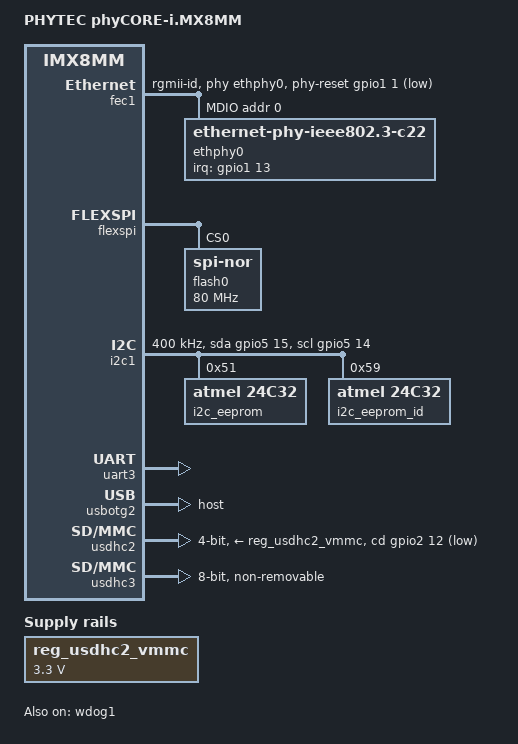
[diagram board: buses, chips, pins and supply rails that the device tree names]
// SPDX-License-Identifier: GPL-2.0-or-later
/*
 * Copyright (C) 2019-2020 PHYTEC Messtechnik GmbH
 * Author: Teresa Remmet <t.remmet@phytec.de>
 */

/dts-v1/;

#include <dt-bindings/net/ti-dp83867.h>
#include "imx8mm.dtsi"

/ {
	model = "PHYTEC phyCORE-i.MX8MM";
	compatible = "phytec,imx8mm-phycore-som", "fsl,imx8mm";

	chosen {
		stdout-path = &uart3;
	};

	reg_usdhc2_vmmc: regulator-usdhc2 {
		compatible = "regulator-fixed";
		regulator-name = "VSD_3V3";
		regulator-min-microvolt = <3300000>;
		regulator-max-microvolt = <3300000>;
		startup-delay-us = <100>;
		off-on-delay-us = <12000>;
	};
};

/* ethernet */
&fec1 {
	pinctrl-names = "default";
	pinctrl-0 = <&pinctrl_fec1>;
	phy-mode = "rgmii-id";
	phy-handle = <&ethphy0>;
	phy-reset-gpios = <&gpio1 1 GPIO_ACTIVE_LOW>;
	phy-reset-duration = <1>;
	phy-reset-post-delay = <1>;
	status = "okay";

	mdio {
		#address-cells = <1>;
		#size-cells = <0>;

		ethphy0: ethernet-phy@0 {
			compatible = "ethernet-phy-ieee802.3-c22";
			reg = <0x0>;
		        adi,rx-internal-delay-ps = <1800>;
		        adi,tx-internal-delay-ps = <2200>;

			interrupt-parent = <&gpio1>;
			interrupts = <13 IRQ_TYPE_EDGE_FALLING>;

		};
	};
};

/* SPI nor flash */
&flexspi {
	pinctrl-names = "default";
	pinctrl-0 = <&pinctrl_flexspi0>;
	status = "okay";

	flash0: norflash@0 {
		reg = <0>;
		#address-cells = <1>;
		#size-cells = <1>;
		compatible = "jedec,spi-nor";
		spi-max-frequency = <80000000>;
		spi-tx-bus-width = <4>;
		spi-rx-bus-width = <4>;
	};
};

/* i2c eeprom */
&i2c1 {
	clock-frequency = <400000>;
	pinctrl-names = "default", "gpio";
	pinctrl-0 = <&pinctrl_i2c1>;
	pinctrl-1 = <&pinctrl_i2c1_gpio>;
	scl-gpios = <&gpio5 14 GPIO_ACTIVE_HIGH>;
	sda-gpios = <&gpio5 15 GPIO_ACTIVE_HIGH>;
	status = "okay";

	/* M24C32-D */
	i2c_eeprom: eeprom@51 {
		compatible = "atmel,24c32";
		reg = <0x51>;
		u-boot,i2c-offset-len = <2>;
	};

	/* M24C32-D Identification page */
	i2c_eeprom_id: eeprom@59 {
		compatible = "atmel,24c32";
		reg = <0x59>;
		u-boot,i2c-offset-len = <2>;
		size = <32>;
	};
};

/* debug console */
&uart3 {
	pinctrl-names = "default";
	pinctrl-0 = <&pinctrl_uart3>;
	status = "okay";
};

/* USB */
&usbotg2 {
	dr_mode = "host";
	picophy,pre-emp-curr-control = <3>;
	picophy,dc-vol-level-adjust = <7>;
	status = "okay";
};

/* sd-card */
&usdhc2 {
	pinctrl-names = "default", "state_100mhz", "state_200mhz";
	pinctrl-0 = <&pinctrl_usdhc2>, <&pinctrl_usdhc2_gpio>;
	pinctrl-1 = <&pinctrl_usdhc2_100mhz>, <&pinctrl_usdhc2_gpio>;
	pinctrl-2 = <&pinctrl_usdhc2_200mhz>, <&pinctrl_usdhc2_gpio>;
	cd-gpios = <&gpio2 12 GPIO_ACTIVE_LOW>;
	bus-width = <4>;
	vmmc-supply = <&reg_usdhc2_vmmc>;
	status = "okay";
};

/* eMMC */
&usdhc3 {
	pinctrl-names = "default", "state_100mhz", "state_200mhz";
	pinctrl-0 = <&pinctrl_usdhc3>;
	pinctrl-1 = <&pinctrl_usdhc3_100mhz>;
	pinctrl-2 = <&pinctrl_usdhc3_200mhz>;
	bus-width = <8>;
	non-removable;
	status = "okay";
};

/* watchdog */
&wdog1 {
	pinctrl-names = "default";
	pinctrl-0 = <&pinctrl_wdog>;
	fsl,ext-reset-output;
	status = "okay";
};

&iomuxc {
	pinctrl-names = "default";

	pinctrl_fec1: fec1grp {
/*
- pin_list:
  - {pin_num: AC27, peripheral: ENET1, signal: enet_mdc, pin_signal: ENET_MDC, PE: Disabled, FSEL: SLOW0, DSE: X4_1}
  - {pin_num: AB27, peripheral: ENET1, signal: enet_mdio, pin_signal: ENET_MDIO, PE: Disabled, FSEL: SLOW0, DSE: X4_1}
  - {pin_num: AE27, peripheral: ENET1, signal: 'enet_rgmii_rd, 0', pin_signal: ENET_RD0, PE: Disabled, HYS: Enabled, DSE: X1_1}
  - {pin_num: AD27, peripheral: ENET1, signal: 'enet_rgmii_rd, 1', pin_signal: ENET_RD1, PE: Disabled, HYS: Enabled, DSE: X1_1}
  - {pin_num: AD26, peripheral: ENET1, signal: 'enet_rgmii_rd, 2', pin_signal: ENET_RD2, PE: Disabled, HYS: Enabled, DSE: X1_1}
  - {pin_num: AC26, peripheral: ENET1, signal: 'enet_rgmii_rd, 3', pin_signal: ENET_RD3, PE: Disabled, HYS: Enabled, DSE: X1_1}
  - {pin_num: AF27, peripheral: ENET1, signal: enet_rgmii_rx_ctl, pin_signal: ENET_RX_CTL, PE: Disabled, HYS: Enabled, DSE: X1_1}
  - {pin_num: AG26, peripheral: ENET1, signal: 'enet_rgmii_td, 0', pin_signal: ENET_TD0, PE: Disabled, FSEL: FAST1, DSE: X6_1}
  - {pin_num: AF26, peripheral: ENET1, signal: 'enet_rgmii_td, 1', pin_signal: ENET_TD1, PE: Disabled, FSEL: FAST1, DSE: X6_1}
  - {pin_num: AF24, peripheral: ENET1, signal: enet_rgmii_tx_ctl, pin_signal: ENET_TX_CTL, PE: Disabled, SION: DISABLED, FSEL: FAST1, DSE: X6_1}
  - {pin_num: AF14, peripheral: GPIO1, signal: 'gpio_io, 01', pin_signal: GPIO1_IO01, PE: Disabled, FSEL: FAST1, DSE: X1_1}
  - {pin_num: AD9, peripheral: GPIO1, signal: 'gpio_io, 13', pin_signal: GPIO1_IO13, PE: Disabled, FSEL: FAST1, DSE: X1_1}
  - {pin_num: AG25, peripheral: ENET1, signal: 'enet_rgmii_td, 2', pin_signal: ENET_TD2, PE: Disabled, HYS: Disabled, FSEL: FAST1, DSE: X6_1}
  - {pin_num: AF25, peripheral: ENET1, signal: 'enet_rgmii_td, 3', pin_signal: ENET_TD3, PE: Disabled, HYS: Disabled, FSEL: FAST1, DSE: X6_1}
  - {pin_num: AG24, peripheral: ENET1, signal: enet_rgmii_txc, pin_signal: ENET_TXC, PE: Disabled, FSEL: FAST1, DSE: X6_1}
  - {pin_num: AE26, peripheral: ENET1, signal: enet_rgmii_rxc, pin_signal: ENET_RXC, PE: Disabled, HYS: Enabled, DSE: X1_1}
*/
		fsl,pins = <
				MX8MM_IOMUXC_ENET_MDC_ENET1_MDC            0x00000003
                MX8MM_IOMUXC_ENET_MDIO_ENET1_MDIO          0x00000003
                MX8MM_IOMUXC_ENET_RD0_ENET1_RGMII_RD0      0x00000091
                MX8MM_IOMUXC_ENET_RD1_ENET1_RGMII_RD1      0x00000091
                MX8MM_IOMUXC_ENET_RD2_ENET1_RGMII_RD2      0x00000091
                MX8MM_IOMUXC_ENET_RD3_ENET1_RGMII_RD3      0x00000091
                MX8MM_IOMUXC_ENET_RXC_ENET1_RGMII_RXC      0x00000091
                MX8MM_IOMUXC_ENET_RX_CTL_ENET1_RGMII_RX_CTL 0x00000091
                MX8MM_IOMUXC_ENET_TD0_ENET1_RGMII_TD0      0x0000001F
                MX8MM_IOMUXC_ENET_TD1_ENET1_RGMII_TD1      0x0000001F
                MX8MM_IOMUXC_ENET_TD2_ENET1_RGMII_TD2      0x0000001F
                MX8MM_IOMUXC_ENET_TD3_ENET1_RGMII_TD3      0x0000001F
                MX8MM_IOMUXC_ENET_TXC_ENET1_RGMII_TXC      0x0000001F
                MX8MM_IOMUXC_ENET_TX_CTL_ENET1_RGMII_TX_CTL 0x0000001F
                MX8MM_IOMUXC_GPIO1_IO01_GPIO1_IO1          0x00000019
                MX8MM_IOMUXC_GPIO1_IO13_GPIO1_IO13         0x00000019
		>;
	};

	pinctrl_flexspi0: flexspi0grp {
		fsl,pins = <
			MX8MM_IOMUXC_NAND_ALE_QSPI_A_SCLK		0x1c2
			MX8MM_IOMUXC_NAND_CE0_B_QSPI_A_SS0_B		0x82
			MX8MM_IOMUXC_NAND_DATA00_QSPI_A_DATA0		0x82
			MX8MM_IOMUXC_NAND_DATA01_QSPI_A_DATA1		0x82
			MX8MM_IOMUXC_NAND_DATA02_QSPI_A_DATA2		0x82
			MX8MM_IOMUXC_NAND_DATA03_QSPI_A_DATA3		0x82
		>;
	};

	pinctrl_i2c1: i2c1grp {
		fsl,pins = <
			MX8MM_IOMUXC_I2C1_SCL_I2C1_SCL		0x400001c3
			MX8MM_IOMUXC_I2C1_SDA_I2C1_SDA		0x400001c3
		>;
	};

	pinctrl_i2c1_gpio: i2c1grp-gpio {
		fsl,pins = <
			MX8MM_IOMUXC_I2C1_SCL_GPIO5_IO14	0x1c3
			MX8MM_IOMUXC_I2C1_SDA_GPIO5_IO15	0x1c3
		>;
	};

	pinctrl_uart3: uart3grp {
		fsl,pins = <
			MX8MM_IOMUXC_UART3_RXD_UART3_DCE_RX	0x49
			MX8MM_IOMUXC_UART3_TXD_UART3_DCE_TX	0x49
		>;
	};

	pinctrl_usdhc2_gpio: usdhc2grpgpio {
		fsl,pins = <
			MX8MM_IOMUXC_SD2_CD_B_GPIO2_IO12        0x41
		>;
	};

	pinctrl_usdhc2: usdhc2grp {
		fsl,pins = <
			MX8MM_IOMUXC_SD2_CLK_USDHC2_CLK		0x190
			MX8MM_IOMUXC_SD2_CMD_USDHC2_CMD		0x1d0
			MX8MM_IOMUXC_SD2_DATA0_USDHC2_DATA0	0x1d0
			MX8MM_IOMUXC_SD2_DATA1_USDHC2_DATA1	0x1d0
			MX8MM_IOMUXC_SD2_DATA2_USDHC2_DATA2	0x1d0
			MX8MM_IOMUXC_SD2_DATA3_USDHC2_DATA3	0x1d0
			MX8MM_IOMUXC_GPIO1_IO04_USDHC2_VSELECT	0x1d0
		>;
	};

	pinctrl_usdhc2_100mhz: usdhc2grp100mhz {
		fsl,pins = <
			MX8MM_IOMUXC_SD2_CLK_USDHC2_CLK		0x194
			MX8MM_IOMUXC_SD2_CMD_USDHC2_CMD		0x1d4
			MX8MM_IOMUXC_SD2_DATA0_USDHC2_DATA0	0x1d4
			MX8MM_IOMUXC_SD2_DATA1_USDHC2_DATA1	0x1d4
			MX8MM_IOMUXC_SD2_DATA2_USDHC2_DATA2	0x1d4
			MX8MM_IOMUXC_SD2_DATA3_USDHC2_DATA3	0x1d4
			MX8MM_IOMUXC_GPIO1_IO04_USDHC2_VSELECT	0x1d0
		>;
	};

	pinctrl_usdhc2_200mhz: usdhc2grp200mhz {
		fsl,pins = <
			MX8MM_IOMUXC_SD2_CLK_USDHC2_CLK		0x196
			MX8MM_IOMUXC_SD2_CMD_USDHC2_CMD		0x1d6
			MX8MM_IOMUXC_SD2_DATA0_USDHC2_DATA0	0x1d6
			MX8MM_IOMUXC_SD2_DATA1_USDHC2_DATA1	0x1d6
			MX8MM_IOMUXC_SD2_DATA2_USDHC2_DATA2	0x1d6
			MX8MM_IOMUXC_SD2_DATA3_USDHC2_DATA3	0x1d6
			MX8MM_IOMUXC_GPIO1_IO04_USDHC2_VSELECT	0x1d0
		>;
	};

	pinctrl_usdhc3: usdhc3grp {
		fsl,pins = <
			MX8MM_IOMUXC_NAND_WE_B_USDHC3_CLK		0x40000190
			MX8MM_IOMUXC_NAND_WP_B_USDHC3_CMD		0x1d0
			MX8MM_IOMUXC_NAND_DATA04_USDHC3_DATA0		0x1d0
			MX8MM_IOMUXC_NAND_DATA05_USDHC3_DATA1		0x1d0
			MX8MM_IOMUXC_NAND_DATA06_USDHC3_DATA2		0x1d0
			MX8MM_IOMUXC_NAND_DATA07_USDHC3_DATA3		0x1d0
			MX8MM_IOMUXC_NAND_RE_B_USDHC3_DATA4		0x1d0
			MX8MM_IOMUXC_NAND_CE2_B_USDHC3_DATA5		0x1d0
			MX8MM_IOMUXC_NAND_CE3_B_USDHC3_DATA6		0x1d0
			MX8MM_IOMUXC_NAND_CLE_USDHC3_DATA7		0x1d0
			MX8MM_IOMUXC_NAND_CE1_B_USDHC3_STROBE		0x190
		>;
	};

	pinctrl_usdhc3_100mhz: usdhc3grp100mhz {
		fsl,pins = <
			MX8MM_IOMUXC_NAND_WE_B_USDHC3_CLK		0x40000194
			MX8MM_IOMUXC_NAND_WP_B_USDHC3_CMD		0x1d4
			MX8MM_IOMUXC_NAND_DATA04_USDHC3_DATA0		0x1d4
			MX8MM_IOMUXC_NAND_DATA05_USDHC3_DATA1		0x1d4
			MX8MM_IOMUXC_NAND_DATA06_USDHC3_DATA2		0x1d4
			MX8MM_IOMUXC_NAND_DATA07_USDHC3_DATA3		0x1d4
			MX8MM_IOMUXC_NAND_RE_B_USDHC3_DATA4		0x1d4
			MX8MM_IOMUXC_NAND_CE2_B_USDHC3_DATA5		0x1d4
			MX8MM_IOMUXC_NAND_CE3_B_USDHC3_DATA6		0x1d4
			MX8MM_IOMUXC_NAND_CLE_USDHC3_DATA7		0x1d4
			MX8MM_IOMUXC_NAND_CE1_B_USDHC3_STROBE		0x194
		>;
	};

	pinctrl_usdhc3_200mhz: usdhc3grp200mhz {
		fsl,pins = <
			MX8MM_IOMUXC_NAND_WE_B_USDHC3_CLK		0x40000196
			MX8MM_IOMUXC_NAND_WP_B_USDHC3_CMD		0x1d6
			MX8MM_IOMUXC_NAND_DATA04_USDHC3_DATA0		0x1d6
			MX8MM_IOMUXC_NAND_DATA05_USDHC3_DATA1		0x1d6
			MX8MM_IOMUXC_NAND_DATA06_USDHC3_DATA2		0x1d6
			MX8MM_IOMUXC_NAND_DATA07_USDHC3_DATA3		0x1d6
			MX8MM_IOMUXC_NAND_RE_B_USDHC3_DATA4		0x1d6
			MX8MM_IOMUXC_NAND_CE2_B_USDHC3_DATA5		0x1d6
			MX8MM_IOMUXC_NAND_CE3_B_USDHC3_DATA6		0x1d6
			MX8MM_IOMUXC_NAND_CLE_USDHC3_DATA7		0x1d6
			MX8MM_IOMUXC_NAND_CE1_B_USDHC3_STROBE		0x196
		>;
	};

	pinctrl_wdog: wdoggrp {
		fsl,pins = <
			MX8MM_IOMUXC_GPIO1_IO02_WDOG1_WDOG_B		0xc6
		>;
	};
};
